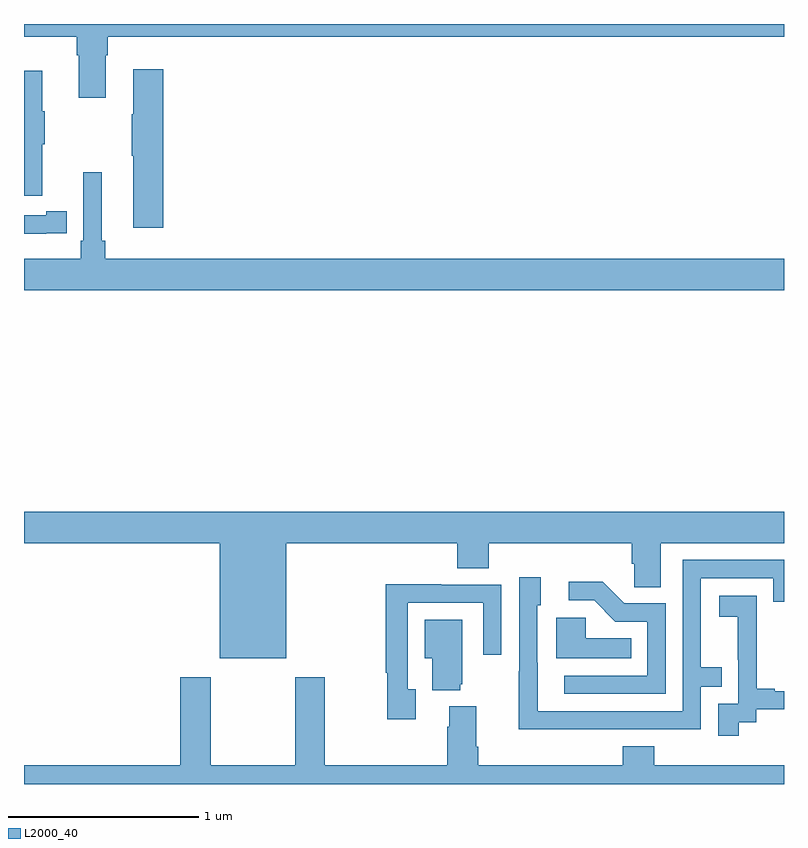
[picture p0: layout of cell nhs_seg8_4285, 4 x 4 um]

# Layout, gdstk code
import gdstk
lib = gdstk.Library(unit=1e-6, precision=1e-09)
def P(c, l, *ps):  # polygons
    for p in ps: c.add(gdstk.Polygon(p, *l))
L2000_40 = (2000, 40)

nhs_seg8_4285 = lib.new_cell('nhs_seg8_4285')
P(nhs_seg8_4285, L2000_40, [(373.429,1117.736),(373.442,1117.736),(373.442,1117.832),(377,1117.832),(377,1117.9),(373,1117.9),(373,1117.832),(373.277,1117.832),(373.277,1117.736),(373.289,1117.736),(373.289,1117.512),(373.429,1117.512)],
  [(373.733,1117.663),(373.574,1117.663),(373.574,1117.424),(373.567,1117.424),(373.567,1117.207),(373.574,1117.207),(373.574,1116.828),(373.733,1116.828)],
  [(373.097,1117.267),(373.108,1117.267),(373.108,1117.441),(373.097,1117.441),(373.097,1117.654),(373,1117.654),(373,1116.996),(373.097,1116.996)],
  [(377,1116.664),(373.427,1116.664),(373.427,1116.76),(373.408,1116.76),(373.408,1117.12),(373.311,1117.12),(373.311,1116.76),(373.298,1116.76),(373.298,1116.664),(373,1116.664),(373,1116.5),(377,1116.5)],
  [(373.118,1116.798),(373.226,1116.798),(373.226,1116.914),(373.118,1116.914),(373.118,1116.894),(373,1116.894),(373,1116.797),(373.118,1116.797)],
  [(374.38,1115.168),(375.281,1115.168),(375.281,1115.035),(375.446,1115.035),(375.446,1115.168),(376.199,1115.168),(376.199,1115.059),(376.212,1115.059),(376.212,1114.936),(376.351,1114.936),(376.351,1115.168),(377,1115.168),(377,1115.332),(373,1115.332),(373,1115.168),(374.03,1115.168),(374.03,1114.562),(374.38,1114.562)],
  [(376.067,1114.188),(376.563,1114.188),(376.563,1114.413),(376.673,1114.413),(376.673,1114.514),(376.563,1114.514),(376.563,1114.983),(376.944,1114.983),(376.944,1114.86),(377,1114.86),(377,1115.079),(376.467,1115.079),(376.467,1114.284),(375.703,1114.284),(375.703,1114.538),(375.702,1114.538),(375.702,1114.842),(375.721,1114.842),(375.721,1114.987),(375.606,1114.987),(375.606,1114.493),(375.604,1114.493),(375.604,1114.187),(376.067,1114.187)],
  [(376.377,1114.851),(376.158,1114.851),(376.045,1114.964),(375.867,1114.964),(375.867,1114.866),(376.001,1114.866),(376.112,1114.755),(376.281,1114.755),(376.281,1114.47),(375.843,1114.47),(375.843,1114.374),(376.377,1114.374)],
  [(375.061,1114.398),(375.021,1114.398),(375.021,1114.854),(375.417,1114.854),(375.417,1114.581),(375.513,1114.581),(375.513,1114.95),(375.197,1114.95),(375.197,1114.952),(374.905,1114.952),(374.905,1114.486),(374.913,1114.486),(374.913,1114.242),(375.061,1114.242)],
  [(376.762,1114.225),(376.854,1114.225),(376.854,1114.293),(377,1114.293),(377,1114.389),(376.951,1114.389),(376.951,1114.402),(376.856,1114.402),(376.856,1114.685),(376.857,1114.685),(376.857,1114.891),(376.659,1114.891),(376.659,1114.781),(376.757,1114.781),(376.757,1114.553),(376.758,1114.553),(376.758,1114.323),(376.653,1114.323),(376.653,1114.155),(376.762,1114.155)],
  [(376.196,1114.666),(375.957,1114.666),(375.957,1114.774),(375.8,1114.774),(375.8,1114.562),(376.196,1114.562)],
  [(375.296,1114.425),(375.307,1114.425),(375.307,1114.765),(375.11,1114.765),(375.11,1114.562),(375.149,1114.562),(375.149,1114.394),(375.296,1114.394)],
  [(377,1114),(376.316,1114),(376.316,1114.099),(376.151,1114.099),(376.151,1114),(375.392,1114),(375.392,1114.096),(375.379,1114.096),(375.379,1114.309),(375.239,1114.309),(375.239,1114.202),(375.227,1114.202),(375.227,1114),(374.583,1114),(374.583,1114.462),(374.428,1114.462),(374.428,1114),(373.983,1114),(373.983,1114.462),(373.823,1114.462),(373.823,1114),(373,1114),(373,1113.9),(377,1113.9)])

lib.write_gds('nhs_seg8_4285.gds')
